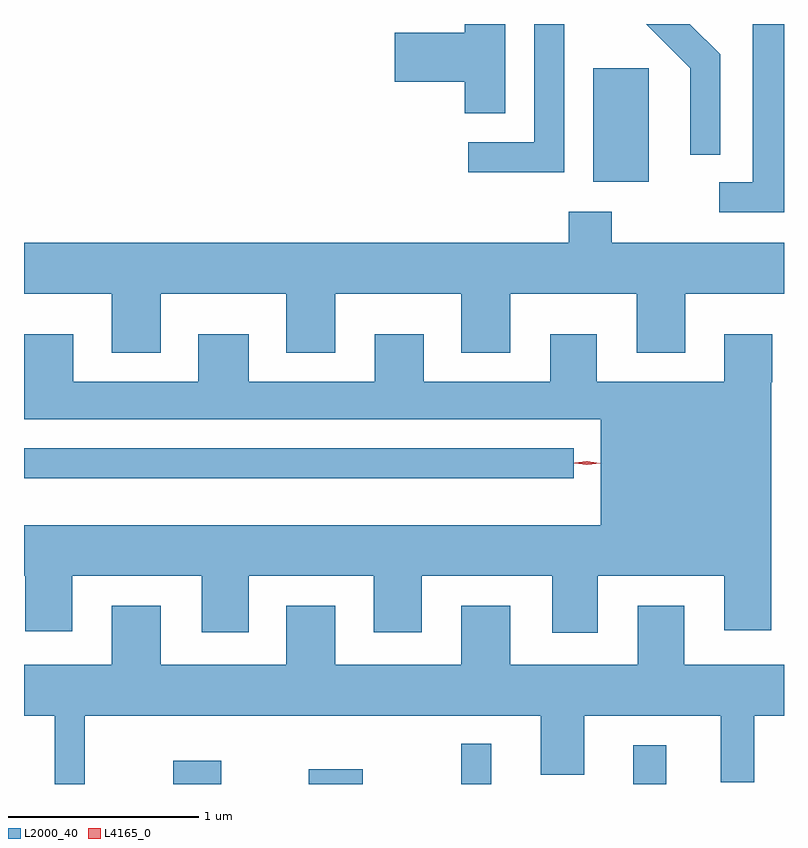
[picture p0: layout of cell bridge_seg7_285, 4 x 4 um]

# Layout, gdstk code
import gdstk
lib = gdstk.Library(unit=1e-6, precision=1e-09)
def R(c, l, rs):  # rectangles x0, y0, x1, y1
    for r in rs: c.add(gdstk.rectangle(r[:2], r[2:], *l))
def P(c, l, *ps):  # polygons
    for p in ps: c.add(gdstk.Polygon(p, *l))
L2000_40 = (2000, 40)
L4165_0 = (4165, 0)

bridge_seg7_285 = lib.new_cell('bridge_seg7_285')
R(bridge_seg7_285, L2000_40, [(1345.961,1776.116,1346.214,1776.239), (1346.673,1776.116,1346.959,1776.194), (1347.476,1776.116,1347.634,1776.328), (1348.381,1776.116,1348.554,1776.319), (1345.175,1777.726,1348.068,1777.884), (1348.171,1779.286,1348.464,1779.884)])
P(bridge_seg7_285, L2000_40, [(1349.175,1780.116),(1349.011,1780.116),(1349.011,1779.284),(1348.833,1779.284),(1348.833,1779.126),(1349.175,1779.126)],
  [(1347.709,1780.116),(1347.496,1780.116),(1347.496,1780.069),(1347.126,1780.069),(1347.126,1779.811),(1347.496,1779.811),(1347.496,1779.646),(1347.709,1779.646)],
  [(1348.839,1779.957),(1348.68,1780.116),(1348.449,1780.116),(1348.681,1779.884),(1348.681,1779.428),(1348.839,1779.428)],
  [(1348.019,1780.116),(1347.861,1780.116),(1347.861,1779.494),(1347.513,1779.494),(1347.513,1779.336),(1348.019,1779.336)],
  [(1345.894,1778.696),(1346.556,1778.696),(1346.556,1778.386),(1346.814,1778.386),(1346.814,1778.696),(1347.476,1778.696),(1347.476,1778.386),(1347.734,1778.386),(1347.734,1778.696),(1348.401,1778.696),(1348.401,1778.386),(1348.654,1778.386),(1348.654,1778.696),(1349.175,1778.696),(1349.175,1778.964),(1348.269,1778.964),(1348.269,1779.129),(1348.041,1779.129),(1348.041,1778.964),(1345.175,1778.964),(1345.175,1778.696),(1345.636,1778.696),(1345.636,1778.386),(1345.894,1778.386)],
  [(1348.194,1777.211),(1348.861,1777.211),(1348.861,1776.926),(1349.109,1776.926),(1349.109,1778.23),(1349.114,1778.23),(1349.114,1778.484),(1348.861,1778.484),(1348.861,1778.234),(1348.189,1778.234),(1348.189,1778.484),(1347.946,1778.484),(1347.946,1778.234),(1347.279,1778.234),(1347.279,1778.484),(1347.021,1778.484),(1347.021,1778.234),(1346.359,1778.234),(1346.359,1778.484),(1346.091,1778.484),(1346.091,1778.234),(1345.434,1778.234),(1345.434,1778.484),(1345.176,1778.484),(1345.176,1778.234),(1345.175,1778.234),(1345.175,1778.036),(1348.211,1778.036),(1348.211,1777.479),(1345.175,1777.479),(1345.175,1777.211),(1345.181,1777.211),(1345.181,1776.921),(1345.429,1776.921),(1345.429,1777.211),(1346.111,1777.211),(1346.111,1776.916),(1346.359,1776.916),(1346.359,1777.211),(1347.016,1777.211),(1347.016,1776.916),(1347.269,1776.916),(1347.269,1777.211),(1347.956,1777.211),(1347.956,1776.911),(1348.194,1776.911)],
  [(1345.494,1776.476),(1347.896,1776.476),(1347.896,1776.166),(1348.124,1776.166),(1348.124,1776.476),(1348.841,1776.476),(1348.841,1776.126),(1349.019,1776.126),(1349.019,1776.476),(1349.175,1776.476),(1349.175,1776.744),(1348.649,1776.744),(1348.649,1777.054),(1348.406,1777.054),(1348.406,1776.744),(1347.734,1776.744),(1347.734,1777.054),(1347.476,1777.054),(1347.476,1776.744),(1346.814,1776.744),(1346.814,1777.054),(1346.556,1777.054),(1346.556,1776.744),(1345.894,1776.744),(1345.894,1777.054),(1345.636,1777.054),(1345.636,1776.744),(1345.175,1776.744),(1345.175,1776.476),(1345.336,1776.476),(1345.336,1776.116),(1345.494,1776.116)])
P(bridge_seg7_285, L4165_0, [(1348.139,1777.795),(1348.07,1777.804),(1348.07,1777.805),(1348.07,1777.805),(1348.139,1777.815),(1348.207,1777.805),(1348.208,1777.805),(1348.207,1777.804)],
  [(1348.135,1777.796),(1348.073,1777.808),(1348.073,1777.808),(1348.073,1777.808),(1348.136,1777.816),(1348.197,1777.805),(1348.197,1777.805),(1348.197,1777.804)])

lib.write_gds('bridge_seg7_285.gds')
